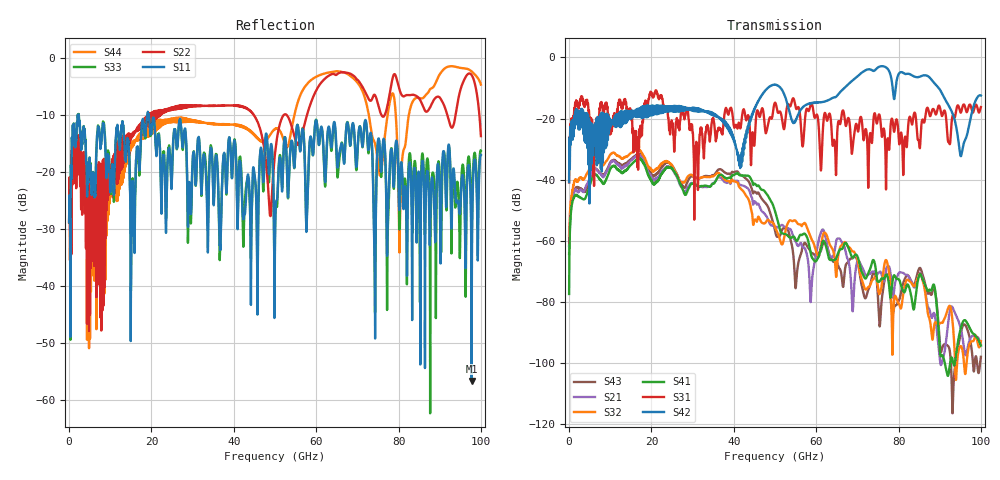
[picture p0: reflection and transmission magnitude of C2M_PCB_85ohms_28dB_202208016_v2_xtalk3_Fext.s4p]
! Info: Touchstone file created by Circ.  Input file=Intel_C2M_200G_12p0in_202208016_staggered.circ
# Hz S RI R 50
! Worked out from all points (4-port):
!   10000 points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, 10 MHz to 100 GHz, reference 50 ohm
!   strongest paths, dB at 10 MHz, 25.01 GHz, 50.01 GHz, 75.01 GHz, 100 GHz:
!     S42: -40.8, -16.7, -8.9, -3.3, -12.5
!     S31: -40.9, -22.1, -14.8, -19.8, -16.2
!     S41: -77.4, -36.4, -50.3, -73.4, -94.3
!     S32: -58.4, -35.4, -55.5, -75.4, -92.8
!     S21: -61.6, -36.5, -55.4, -70.7, -93.9
!     S43: -64.3, -35.3, -56.7, -78.6, -98.0
!   lowest |S11| = -56.6 dB at 97.76 GHz (marker M1), VSWR 1.00, Z = 50.1 - j0.0533 ohm
!   |S11| at or under -10 dB: start of sweep to 2.1 GHz; 2.362 GHz to 19.02 GHz (16.66 GHz wide, 156 % of centre); 19.38 GHz to end of sweep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
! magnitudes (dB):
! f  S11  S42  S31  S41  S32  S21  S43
! 10 MHz  -28.7  -40.8  -40.9  -77.4  -58.4  -61.6  -64.3
! 17 GHz  -19.0  -16.9  -28.4  -32.9  -30.2  -31.9  -31.5
! 41.56 GHz  -18.1  -36.2  -23.2  -38.6  -42.8  -41.7  -38.4
! 58.73 GHz  -13.8  -15.0  -15.2  -64.5  -59.1  -79.0  -63.8
! 80.34 GHz  -22.2  -4.9  -27.0  -73.4  -81.6  -70.3  -78.6
! 97.76 GHz  -56.6  -18.3  -17.0  -89.8  -92.9  -91.3  -95.6
! 100 GHz  -16.9  -12.5  -16.2  -94.3  -92.8  -93.9  -98.0
